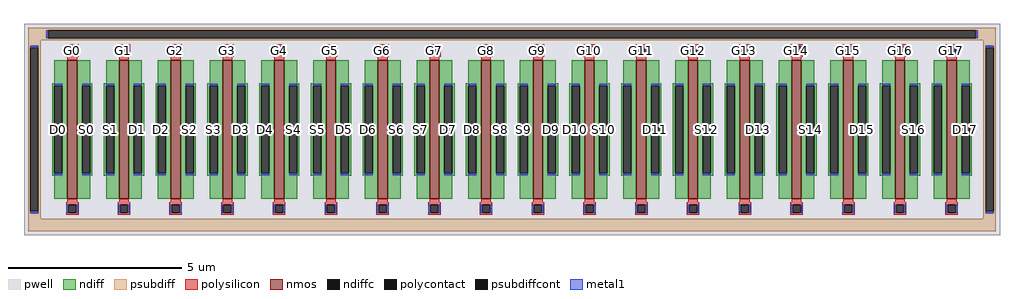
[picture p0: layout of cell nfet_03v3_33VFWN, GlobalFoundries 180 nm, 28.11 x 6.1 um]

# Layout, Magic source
magic
tech gf180mcuD
magscale 1 10
<< pwell >>
rect -2811 -610 2811 610
<< nmos >>
rect -2561 -400 -2505 400
rect -2263 -400 -2207 400
rect -1965 -400 -1909 400
rect -1667 -400 -1611 400
rect -1369 -400 -1313 400
rect -1071 -400 -1015 400
rect -773 -400 -717 400
rect -475 -400 -419 400
rect -177 -400 -121 400
rect 121 -400 177 400
rect 419 -400 475 400
rect 717 -400 773 400
rect 1015 -400 1071 400
rect 1313 -400 1369 400
rect 1611 -400 1667 400
rect 1909 -400 1965 400
rect 2207 -400 2263 400
rect 2505 -400 2561 400
<< ndiff >>
rect -2636 265 -2561 400
rect -2649 252 -2561 265
rect -2649 -252 -2636 252
rect -2590 -252 -2561 252
rect -2649 -265 -2561 -252
rect -2636 -400 -2561 -265
rect -2505 265 -2430 400
rect -2338 265 -2263 400
rect -2505 252 -2417 265
rect -2505 -252 -2476 252
rect -2430 -252 -2417 252
rect -2505 -265 -2417 -252
rect -2351 252 -2263 265
rect -2351 -252 -2338 252
rect -2292 -252 -2263 252
rect -2351 -265 -2263 -252
rect -2505 -400 -2430 -265
rect -2338 -400 -2263 -265
rect -2207 265 -2132 400
rect -2040 265 -1965 400
rect -2207 252 -2119 265
rect -2207 -252 -2178 252
rect -2132 -252 -2119 252
rect -2207 -265 -2119 -252
rect -2053 252 -1965 265
rect -2053 -252 -2040 252
rect -1994 -252 -1965 252
rect -2053 -265 -1965 -252
rect -2207 -400 -2132 -265
rect -2040 -400 -1965 -265
rect -1909 265 -1834 400
rect -1742 265 -1667 400
rect -1909 252 -1821 265
rect -1909 -252 -1880 252
rect -1834 -252 -1821 252
rect -1909 -265 -1821 -252
rect -1755 252 -1667 265
rect -1755 -252 -1742 252
rect -1696 -252 -1667 252
rect -1755 -265 -1667 -252
rect -1909 -400 -1834 -265
rect -1742 -400 -1667 -265
rect -1611 265 -1536 400
rect -1444 265 -1369 400
rect -1611 252 -1523 265
rect -1611 -252 -1582 252
rect -1536 -252 -1523 252
rect -1611 -265 -1523 -252
rect -1457 252 -1369 265
rect -1457 -252 -1444 252
rect -1398 -252 -1369 252
rect -1457 -265 -1369 -252
rect -1611 -400 -1536 -265
rect -1444 -400 -1369 -265
rect -1313 265 -1238 400
rect -1146 265 -1071 400
rect -1313 252 -1225 265
rect -1313 -252 -1284 252
rect -1238 -252 -1225 252
rect -1313 -265 -1225 -252
rect -1159 252 -1071 265
rect -1159 -252 -1146 252
rect -1100 -252 -1071 252
rect -1159 -265 -1071 -252
rect -1313 -400 -1238 -265
rect -1146 -400 -1071 -265
rect -1015 265 -940 400
rect -848 265 -773 400
rect -1015 252 -927 265
rect -1015 -252 -986 252
rect -940 -252 -927 252
rect -1015 -265 -927 -252
rect -861 252 -773 265
rect -861 -252 -848 252
rect -802 -252 -773 252
rect -861 -265 -773 -252
rect -1015 -400 -940 -265
rect -848 -400 -773 -265
rect -717 265 -642 400
rect -550 265 -475 400
rect -717 252 -629 265
rect -717 -252 -688 252
rect -642 -252 -629 252
rect -717 -265 -629 -252
rect -563 252 -475 265
rect -563 -252 -550 252
rect -504 -252 -475 252
rect -563 -265 -475 -252
rect -717 -400 -642 -265
rect -550 -400 -475 -265
rect -419 265 -344 400
rect -252 265 -177 400
rect -419 252 -331 265
rect -419 -252 -390 252
rect -344 -252 -331 252
rect -419 -265 -331 -252
rect -265 252 -177 265
rect -265 -252 -252 252
rect -206 -252 -177 252
rect -265 -265 -177 -252
rect -419 -400 -344 -265
rect -252 -400 -177 -265
rect -121 265 -46 400
rect 46 265 121 400
rect -121 252 -33 265
rect -121 -252 -92 252
rect -46 -252 -33 252
rect -121 -265 -33 -252
rect 33 252 121 265
rect 33 -252 46 252
rect 92 -252 121 252
rect 33 -265 121 -252
rect -121 -400 -46 -265
rect 46 -400 121 -265
rect 177 265 252 400
rect 344 265 419 400
rect 177 252 265 265
rect 177 -252 206 252
rect 252 -252 265 252
rect 177 -265 265 -252
rect 331 252 419 265
rect 331 -252 344 252
rect 390 -252 419 252
rect 331 -265 419 -252
rect 177 -400 252 -265
rect 344 -400 419 -265
rect 475 265 550 400
rect 642 265 717 400
rect 475 252 563 265
rect 475 -252 504 252
rect 550 -252 563 252
rect 475 -265 563 -252
rect 629 252 717 265
rect 629 -252 642 252
rect 688 -252 717 252
rect 629 -265 717 -252
rect 475 -400 550 -265
rect 642 -400 717 -265
rect 773 265 848 400
rect 940 265 1015 400
rect 773 252 861 265
rect 773 -252 802 252
rect 848 -252 861 252
rect 773 -265 861 -252
rect 927 252 1015 265
rect 927 -252 940 252
rect 986 -252 1015 252
rect 927 -265 1015 -252
rect 773 -400 848 -265
rect 940 -400 1015 -265
rect 1071 265 1146 400
rect 1238 265 1313 400
rect 1071 252 1159 265
rect 1071 -252 1100 252
rect 1146 -252 1159 252
rect 1071 -265 1159 -252
rect 1225 252 1313 265
rect 1225 -252 1238 252
rect 1284 -252 1313 252
rect 1225 -265 1313 -252
rect 1071 -400 1146 -265
rect 1238 -400 1313 -265
rect 1369 265 1444 400
rect 1536 265 1611 400
rect 1369 252 1457 265
rect 1369 -252 1398 252
rect 1444 -252 1457 252
rect 1369 -265 1457 -252
rect 1523 252 1611 265
rect 1523 -252 1536 252
rect 1582 -252 1611 252
rect 1523 -265 1611 -252
rect 1369 -400 1444 -265
rect 1536 -400 1611 -265
rect 1667 265 1742 400
rect 1834 265 1909 400
rect 1667 252 1755 265
rect 1667 -252 1696 252
rect 1742 -252 1755 252
rect 1667 -265 1755 -252
rect 1821 252 1909 265
rect 1821 -252 1834 252
rect 1880 -252 1909 252
rect 1821 -265 1909 -252
rect 1667 -400 1742 -265
rect 1834 -400 1909 -265
rect 1965 265 2040 400
rect 2132 265 2207 400
rect 1965 252 2053 265
rect 1965 -252 1994 252
rect 2040 -252 2053 252
rect 1965 -265 2053 -252
rect 2119 252 2207 265
rect 2119 -252 2132 252
rect 2178 -252 2207 252
rect 2119 -265 2207 -252
rect 1965 -400 2040 -265
rect 2132 -400 2207 -265
rect 2263 265 2338 400
rect 2430 265 2505 400
rect 2263 252 2351 265
rect 2263 -252 2292 252
rect 2338 -252 2351 252
rect 2263 -265 2351 -252
rect 2417 252 2505 265
rect 2417 -252 2430 252
rect 2476 -252 2505 252
rect 2417 -265 2505 -252
rect 2263 -400 2338 -265
rect 2430 -400 2505 -265
rect 2561 265 2636 400
rect 2561 252 2649 265
rect 2561 -252 2590 252
rect 2636 -252 2649 252
rect 2561 -265 2649 -252
rect 2561 -400 2636 -265
<< ndiffc >>
rect -2636 -252 -2590 252
rect -2476 -252 -2430 252
rect -2338 -252 -2292 252
rect -2178 -252 -2132 252
rect -2040 -252 -1994 252
rect -1880 -252 -1834 252
rect -1742 -252 -1696 252
rect -1582 -252 -1536 252
rect -1444 -252 -1398 252
rect -1284 -252 -1238 252
rect -1146 -252 -1100 252
rect -986 -252 -940 252
rect -848 -252 -802 252
rect -688 -252 -642 252
rect -550 -252 -504 252
rect -390 -252 -344 252
rect -252 -252 -206 252
rect -92 -252 -46 252
rect 46 -252 92 252
rect 206 -252 252 252
rect 344 -252 390 252
rect 504 -252 550 252
rect 642 -252 688 252
rect 802 -252 848 252
rect 940 -252 986 252
rect 1100 -252 1146 252
rect 1238 -252 1284 252
rect 1398 -252 1444 252
rect 1536 -252 1582 252
rect 1696 -252 1742 252
rect 1834 -252 1880 252
rect 1994 -252 2040 252
rect 2132 -252 2178 252
rect 2292 -252 2338 252
rect 2430 -252 2476 252
rect 2590 -252 2636 252
<< psubdiff >>
rect -2787 573 2787 586
rect -2787 527 -2671 573
rect 2671 527 2787 573
rect -2787 514 2787 527
rect -2787 470 -2715 514
rect -2787 -470 -2774 470
rect -2728 -470 -2715 470
rect 2715 470 2787 514
rect -2787 -514 -2715 -470
rect 2715 -470 2728 470
rect 2774 -470 2787 470
rect 2715 -514 2787 -470
rect -2787 -586 2787 -514
<< psubdiffcont >>
rect -2671 527 2671 573
rect -2774 -470 -2728 470
rect 2728 -470 2774 470
<< polysilicon >>
rect -2569 479 -2497 492
rect -2569 433 -2556 479
rect -2510 433 -2497 479
rect -2569 420 -2497 433
rect -2271 479 -2199 492
rect -2271 433 -2258 479
rect -2212 433 -2199 479
rect -2271 420 -2199 433
rect -1973 479 -1901 492
rect -1973 433 -1960 479
rect -1914 433 -1901 479
rect -1973 420 -1901 433
rect -1675 479 -1603 492
rect -1675 433 -1662 479
rect -1616 433 -1603 479
rect -1675 420 -1603 433
rect -1377 479 -1305 492
rect -1377 433 -1364 479
rect -1318 433 -1305 479
rect -1377 420 -1305 433
rect -1079 479 -1007 492
rect -1079 433 -1066 479
rect -1020 433 -1007 479
rect -1079 420 -1007 433
rect -781 479 -709 492
rect -781 433 -768 479
rect -722 433 -709 479
rect -781 420 -709 433
rect -483 479 -411 492
rect -483 433 -470 479
rect -424 433 -411 479
rect -483 420 -411 433
rect -185 479 -113 492
rect -185 433 -172 479
rect -126 433 -113 479
rect -185 420 -113 433
rect 113 479 185 492
rect 113 433 126 479
rect 172 433 185 479
rect 113 420 185 433
rect 411 479 483 492
rect 411 433 424 479
rect 470 433 483 479
rect 411 420 483 433
rect 709 479 781 492
rect 709 433 722 479
rect 768 433 781 479
rect 709 420 781 433
rect 1007 479 1079 492
rect 1007 433 1020 479
rect 1066 433 1079 479
rect 1007 420 1079 433
rect 1305 479 1377 492
rect 1305 433 1318 479
rect 1364 433 1377 479
rect 1305 420 1377 433
rect 1603 479 1675 492
rect 1603 433 1616 479
rect 1662 433 1675 479
rect 1603 420 1675 433
rect 1901 479 1973 492
rect 1901 433 1914 479
rect 1960 433 1973 479
rect 1901 420 1973 433
rect 2199 479 2271 492
rect 2199 433 2212 479
rect 2258 433 2271 479
rect 2199 420 2271 433
rect 2497 479 2569 492
rect 2497 433 2510 479
rect 2556 433 2569 479
rect 2497 420 2569 433
rect -2561 400 -2505 420
rect -2263 400 -2207 420
rect -1965 400 -1909 420
rect -1667 400 -1611 420
rect -1369 400 -1313 420
rect -1071 400 -1015 420
rect -773 400 -717 420
rect -475 400 -419 420
rect -177 400 -121 420
rect 121 400 177 420
rect 419 400 475 420
rect 717 400 773 420
rect 1015 400 1071 420
rect 1313 400 1369 420
rect 1611 400 1667 420
rect 1909 400 1965 420
rect 2207 400 2263 420
rect 2505 400 2561 420
rect -2561 -420 -2505 -400
rect -2263 -420 -2207 -400
rect -1965 -420 -1909 -400
rect -1667 -420 -1611 -400
rect -1369 -420 -1313 -400
rect -1071 -420 -1015 -400
rect -773 -420 -717 -400
rect -475 -420 -419 -400
rect -177 -420 -121 -400
rect 121 -420 177 -400
rect 419 -420 475 -400
rect 717 -420 773 -400
rect 1015 -420 1071 -400
rect 1313 -420 1369 -400
rect 1611 -420 1667 -400
rect 1909 -420 1965 -400
rect 2207 -420 2263 -400
rect 2505 -420 2561 -400
rect -2569 -433 -2497 -420
rect -2569 -479 -2556 -433
rect -2510 -479 -2497 -433
rect -2569 -492 -2497 -479
rect -2271 -433 -2199 -420
rect -2271 -479 -2258 -433
rect -2212 -479 -2199 -433
rect -2271 -492 -2199 -479
rect -1973 -433 -1901 -420
rect -1973 -479 -1960 -433
rect -1914 -479 -1901 -433
rect -1973 -492 -1901 -479
rect -1675 -433 -1603 -420
rect -1675 -479 -1662 -433
rect -1616 -479 -1603 -433
rect -1675 -492 -1603 -479
rect -1377 -433 -1305 -420
rect -1377 -479 -1364 -433
rect -1318 -479 -1305 -433
rect -1377 -492 -1305 -479
rect -1079 -433 -1007 -420
rect -1079 -479 -1066 -433
rect -1020 -479 -1007 -433
rect -1079 -492 -1007 -479
rect -781 -433 -709 -420
rect -781 -479 -768 -433
rect -722 -479 -709 -433
rect -781 -492 -709 -479
rect -483 -433 -411 -420
rect -483 -479 -470 -433
rect -424 -479 -411 -433
rect -483 -492 -411 -479
rect -185 -433 -113 -420
rect -185 -479 -172 -433
rect -126 -479 -113 -433
rect -185 -492 -113 -479
rect 113 -433 185 -420
rect 113 -479 126 -433
rect 172 -479 185 -433
rect 113 -492 185 -479
rect 411 -433 483 -420
rect 411 -479 424 -433
rect 470 -479 483 -433
rect 411 -492 483 -479
rect 709 -433 781 -420
rect 709 -479 722 -433
rect 768 -479 781 -433
rect 709 -492 781 -479
rect 1007 -433 1079 -420
rect 1007 -479 1020 -433
rect 1066 -479 1079 -433
rect 1007 -492 1079 -479
rect 1305 -433 1377 -420
rect 1305 -479 1318 -433
rect 1364 -479 1377 -433
rect 1305 -492 1377 -479
rect 1603 -433 1675 -420
rect 1603 -479 1616 -433
rect 1662 -479 1675 -433
rect 1603 -492 1675 -479
rect 1901 -433 1973 -420
rect 1901 -479 1914 -433
rect 1960 -479 1973 -433
rect 1901 -492 1973 -479
rect 2199 -433 2271 -420
rect 2199 -479 2212 -433
rect 2258 -479 2271 -433
rect 2199 -492 2271 -479
rect 2497 -433 2569 -420
rect 2497 -479 2510 -433
rect 2556 -479 2569 -433
rect 2497 -492 2569 -479
<< polycontact >>
rect -2556 433 -2510 479
rect -2258 433 -2212 479
rect -1960 433 -1914 479
rect -1662 433 -1616 479
rect -1364 433 -1318 479
rect -1066 433 -1020 479
rect -768 433 -722 479
rect -470 433 -424 479
rect -172 433 -126 479
rect 126 433 172 479
rect 424 433 470 479
rect 722 433 768 479
rect 1020 433 1066 479
rect 1318 433 1364 479
rect 1616 433 1662 479
rect 1914 433 1960 479
rect 2212 433 2258 479
rect 2510 433 2556 479
rect -2556 -479 -2510 -433
rect -2258 -479 -2212 -433
rect -1960 -479 -1914 -433
rect -1662 -479 -1616 -433
rect -1364 -479 -1318 -433
rect -1066 -479 -1020 -433
rect -768 -479 -722 -433
rect -470 -479 -424 -433
rect -172 -479 -126 -433
rect 126 -479 172 -433
rect 424 -479 470 -433
rect 722 -479 768 -433
rect 1020 -479 1066 -433
rect 1318 -479 1364 -433
rect 1616 -479 1662 -433
rect 1914 -479 1960 -433
rect 2212 -479 2258 -433
rect 2510 -479 2556 -433
<< metal1 >>
rect -2682 527 -2671 573
rect 2671 527 2682 573
rect -2774 470 -2728 481
rect -2567 433 -2556 479
rect -2510 433 -2499 479
rect -2269 433 -2258 479
rect -2212 433 -2201 479
rect -1971 433 -1960 479
rect -1914 433 -1903 479
rect -1673 433 -1662 479
rect -1616 433 -1605 479
rect -1375 433 -1364 479
rect -1318 433 -1307 479
rect -1077 433 -1066 479
rect -1020 433 -1009 479
rect -779 433 -768 479
rect -722 433 -711 479
rect -481 433 -470 479
rect -424 433 -413 479
rect -183 433 -172 479
rect -126 433 -115 479
rect 115 433 126 479
rect 172 433 183 479
rect 413 433 424 479
rect 470 433 481 479
rect 711 433 722 479
rect 768 433 779 479
rect 1009 433 1020 479
rect 1066 433 1077 479
rect 1307 433 1318 479
rect 1364 433 1375 479
rect 1605 433 1616 479
rect 1662 433 1673 479
rect 1903 433 1914 479
rect 1960 433 1971 479
rect 2201 433 2212 479
rect 2258 433 2269 479
rect 2499 433 2510 479
rect 2556 433 2567 479
rect 2728 470 2774 481
rect -2636 252 -2590 263
rect -2636 -263 -2590 -252
rect -2476 252 -2430 263
rect -2476 -263 -2430 -252
rect -2338 252 -2292 263
rect -2338 -263 -2292 -252
rect -2178 252 -2132 263
rect -2178 -263 -2132 -252
rect -2040 252 -1994 263
rect -2040 -263 -1994 -252
rect -1880 252 -1834 263
rect -1880 -263 -1834 -252
rect -1742 252 -1696 263
rect -1742 -263 -1696 -252
rect -1582 252 -1536 263
rect -1582 -263 -1536 -252
rect -1444 252 -1398 263
rect -1444 -263 -1398 -252
rect -1284 252 -1238 263
rect -1284 -263 -1238 -252
rect -1146 252 -1100 263
rect -1146 -263 -1100 -252
rect -986 252 -940 263
rect -986 -263 -940 -252
rect -848 252 -802 263
rect -848 -263 -802 -252
rect -688 252 -642 263
rect -688 -263 -642 -252
rect -550 252 -504 263
rect -550 -263 -504 -252
rect -390 252 -344 263
rect -390 -263 -344 -252
rect -252 252 -206 263
rect -252 -263 -206 -252
rect -92 252 -46 263
rect -92 -263 -46 -252
rect 46 252 92 263
rect 46 -263 92 -252
rect 206 252 252 263
rect 206 -263 252 -252
rect 344 252 390 263
rect 344 -263 390 -252
rect 504 252 550 263
rect 504 -263 550 -252
rect 642 252 688 263
rect 642 -263 688 -252
rect 802 252 848 263
rect 802 -263 848 -252
rect 940 252 986 263
rect 940 -263 986 -252
rect 1100 252 1146 263
rect 1100 -263 1146 -252
rect 1238 252 1284 263
rect 1238 -263 1284 -252
rect 1398 252 1444 263
rect 1398 -263 1444 -252
rect 1536 252 1582 263
rect 1536 -263 1582 -252
rect 1696 252 1742 263
rect 1696 -263 1742 -252
rect 1834 252 1880 263
rect 1834 -263 1880 -252
rect 1994 252 2040 263
rect 1994 -263 2040 -252
rect 2132 252 2178 263
rect 2132 -263 2178 -252
rect 2292 252 2338 263
rect 2292 -263 2338 -252
rect 2430 252 2476 263
rect 2430 -263 2476 -252
rect 2590 252 2636 263
rect 2590 -263 2636 -252
rect -2774 -481 -2728 -470
rect -2567 -479 -2556 -433
rect -2510 -479 -2499 -433
rect -2269 -479 -2258 -433
rect -2212 -479 -2201 -433
rect -1971 -479 -1960 -433
rect -1914 -479 -1903 -433
rect -1673 -479 -1662 -433
rect -1616 -479 -1605 -433
rect -1375 -479 -1364 -433
rect -1318 -479 -1307 -433
rect -1077 -479 -1066 -433
rect -1020 -479 -1009 -433
rect -779 -479 -768 -433
rect -722 -479 -711 -433
rect -481 -479 -470 -433
rect -424 -479 -413 -433
rect -183 -479 -172 -433
rect -126 -479 -115 -433
rect 115 -479 126 -433
rect 172 -479 183 -433
rect 413 -479 424 -433
rect 470 -479 481 -433
rect 711 -479 722 -433
rect 768 -479 779 -433
rect 1009 -479 1020 -433
rect 1066 -479 1077 -433
rect 1307 -479 1318 -433
rect 1364 -479 1375 -433
rect 1605 -479 1616 -433
rect 1662 -479 1673 -433
rect 1903 -479 1914 -433
rect 1960 -479 1971 -433
rect 2201 -479 2212 -433
rect 2258 -479 2269 -433
rect 2499 -479 2510 -433
rect 2556 -479 2567 -433
rect 2728 -481 2774 -470
<< labels >>
rlabel ndiffc -2613 0 -2613 0 0 D0
port 1 nsew
rlabel ndiffc -2453 0 -2453 0 0 S0
port 2 nsew
rlabel polycontact -2533 456 -2533 456 0 G0
port 3 nsew
rlabel ndiffc -2155 0 -2155 0 0 D1
port 4 nsew
rlabel ndiffc -2315 0 -2315 0 0 S1
port 5 nsew
rlabel polycontact -2235 456 -2235 456 0 G1
port 6 nsew
rlabel ndiffc -2017 0 -2017 0 0 D2
port 7 nsew
rlabel ndiffc -1857 0 -1857 0 0 S2
port 8 nsew
rlabel polycontact -1937 456 -1937 456 0 G2
port 9 nsew
rlabel ndiffc -1559 0 -1559 0 0 D3
port 10 nsew
rlabel ndiffc -1719 0 -1719 0 0 S3
port 11 nsew
rlabel polycontact -1639 456 -1639 456 0 G3
port 12 nsew
rlabel ndiffc -1421 0 -1421 0 0 D4
port 13 nsew
rlabel ndiffc -1261 0 -1261 0 0 S4
port 14 nsew
rlabel polycontact -1341 456 -1341 456 0 G4
port 15 nsew
rlabel ndiffc -963 0 -963 0 0 D5
port 16 nsew
rlabel ndiffc -1123 0 -1123 0 0 S5
port 17 nsew
rlabel polycontact -1043 456 -1043 456 0 G5
port 18 nsew
rlabel ndiffc -825 0 -825 0 0 D6
port 19 nsew
rlabel ndiffc -665 0 -665 0 0 S6
port 20 nsew
rlabel polycontact -745 456 -745 456 0 G6
port 21 nsew
rlabel ndiffc -367 0 -367 0 0 D7
port 22 nsew
rlabel ndiffc -527 0 -527 0 0 S7
port 23 nsew
rlabel polycontact -447 456 -447 456 0 G7
port 24 nsew
rlabel ndiffc -229 0 -229 0 0 D8
port 25 nsew
rlabel ndiffc -69 0 -69 0 0 S8
port 26 nsew
rlabel polycontact -149 456 -149 456 0 G8
port 27 nsew
rlabel ndiffc 229 0 229 0 0 D9
port 28 nsew
rlabel ndiffc 69 0 69 0 0 S9
port 29 nsew
rlabel polycontact 149 456 149 456 0 G9
port 30 nsew
rlabel ndiffc 367 0 367 0 0 D10
port 31 nsew
rlabel ndiffc 527 0 527 0 0 S10
port 32 nsew
rlabel polycontact 447 456 447 456 0 G10
port 33 nsew
rlabel ndiffc 825 0 825 0 0 D11
port 34 nsew
rlabel ndiffc 665 0 665 0 0 S11
port 35 nsew
rlabel polycontact 745 456 745 456 0 G11
port 36 nsew
rlabel ndiffc 963 0 963 0 0 D12
port 37 nsew
rlabel ndiffc 1123 0 1123 0 0 S12
port 38 nsew
rlabel polycontact 1043 456 1043 456 0 G12
port 39 nsew
rlabel ndiffc 1421 0 1421 0 0 D13
port 40 nsew
rlabel ndiffc 1261 0 1261 0 0 S13
port 41 nsew
rlabel polycontact 1341 456 1341 456 0 G13
port 42 nsew
rlabel ndiffc 1559 0 1559 0 0 D14
port 43 nsew
rlabel ndiffc 1719 0 1719 0 0 S14
port 44 nsew
rlabel polycontact 1639 456 1639 456 0 G14
port 45 nsew
rlabel ndiffc 2017 0 2017 0 0 D15
port 46 nsew
rlabel ndiffc 1857 0 1857 0 0 S15
port 47 nsew
rlabel polycontact 1937 456 1937 456 0 G15
port 48 nsew
rlabel ndiffc 2155 0 2155 0 0 D16
port 49 nsew
rlabel ndiffc 2315 0 2315 0 0 S16
port 50 nsew
rlabel polycontact 2235 456 2235 456 0 G16
port 51 nsew
rlabel ndiffc 2613 0 2613 0 0 D17
port 52 nsew
rlabel ndiffc 2453 0 2453 0 0 S17
port 53 nsew
rlabel polycontact 2533 456 2533 456 0 G17
port 54 nsew
<< properties >>
string FIXED_BBOX -2751 -550 2751 550
string gencell nfet_03v3
string library gf180mcu
string parameters w 4.00 l 0.28 m 1 nf 18 diffcov 65 polycov 100 guard 1 glc 1 grc 1 gtc 1 gbc 0 tbcov 100 rlcov 100 topc 1 botc 1 poverlap 0 doverlap 0 lmin 0.28 wmin 0.22 class mosfet full_metal 0 viasrc 0 viadrn 0 viagate 0 viagb 0 viagr 0 viagl 0 viagt 0 doports 1 compatible {nfet_03v3 nfet_05v0 nfet_06v0 nfet_06v0_nvt}
<< end >>
